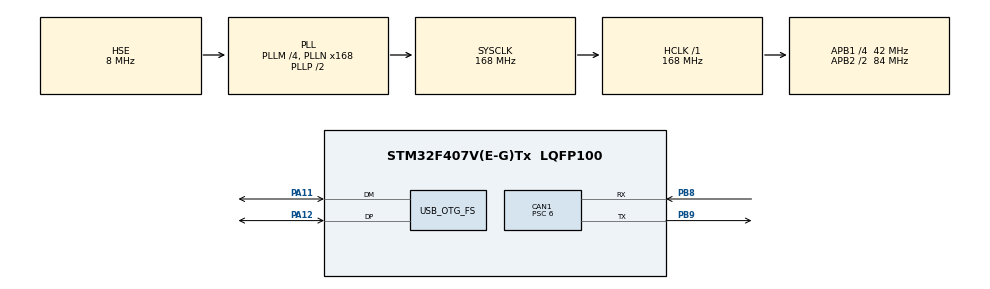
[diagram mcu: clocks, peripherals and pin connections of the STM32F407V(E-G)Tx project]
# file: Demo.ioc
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CAN1.ABOM=DISABLE
CAN1.AWUM=DISABLE
CAN1.BS1=CAN_BS1_3TQ
CAN1.BS2=CAN_BS2_3TQ
CAN1.CalculateBaudRate=1000000
CAN1.CalculateTimeBit=1000
CAN1.CalculateTimeQuantum=142.85714285714286
CAN1.NART=DISABLE
CAN1.Prescaler=6
Mcu.Family=STM32F4
Mcu.Name=STM32F407V(E-G)Tx
Mcu.Package=LQFP100
NVIC.CAN1_RX0_IRQn=true\:0\:0\:false\:false\:true\:true\:true\:true
NVIC.OTG_FS_IRQn=true\:0\:0\:false\:false\:true\:false\:true\:true
NVIC.PriorityGroup=NVIC_PRIORITYGROUP_4
PA11.GPIO_PuPd=GPIO_PULLDOWN
PA11.Mode=Device_Only
PA11.Signal=USB_OTG_FS_DM
PA12.GPIO_PuPd=GPIO_PULLDOWN
PA12.Mode=Device_Only
PA12.Signal=USB_OTG_FS_DP
PA13.GPIO_Label=swd
PA13.Mode=Serial_Wire
PA13.Signal=SYS_JTMS-SWDIO
PA14.GPIO_Label=swc
PA14.Mode=Serial_Wire
PA14.Signal=SYS_JTCK-SWCLK
PB8.GPIO_PuPd=GPIO_PULLDOWN
PB8.Mode=CAN_Activate
PB8.Signal=CAN1_RX
PB9.GPIO_PuPd=GPIO_PULLDOWN
PB9.Mode=CAN_Activate
PB9.Signal=CAN1_TX
PH0-OSC_IN.Mode=HSE-External-Oscillator
PH0-OSC_IN.Signal=RCC_OSC_IN
PH1-OSC_OUT.Mode=HSE-External-Oscillator
PH1-OSC_OUT.Signal=RCC_OSC_OUT
ProjectManager.HeapSize=0x200
ProjectManager.StackSize=0x400
ProjectManager.TargetToolchain=STM32CubeIDE
RCC.48MHZClocksFreq_Value=48000000
RCC.AHBFreq_Value=168000000
RCC.APB1CLKDivider=RCC_HCLK_DIV4
RCC.APB1Freq_Value=42000000
RCC.APB1TimFreq_Value=84000000
RCC.APB2CLKDivider=RCC_HCLK_DIV2
RCC.APB2Freq_Value=84000000
RCC.APB2TimFreq_Value=168000000
RCC.CortexFreq_Value=168000000
RCC.HCLKFreq_Value=168000000
RCC.HSE_VALUE=8000000
RCC.HSI_VALUE=16000000
RCC.LSE_VALUE=32768
RCC.PLLM=4
RCC.PLLN=168
RCC.PLLQ=7
RCC.SYSCLKFreq_VALUE=168000000
RCC.SYSCLKSource=RCC_SYSCLKSOURCE_PLLCLK
RCC.VCOOutputFreq_Value=336000000
USB_DEVICE.APP_RX_DATA_SIZE-CDC_FS=64
USB_DEVICE.APP_TX_DATA_SIZE-CDC_FS=64
USB_DEVICE.CLASS_NAME_FS=CDC
USB_DEVICE.VirtualMode-CDC_FS=Cdc
USB_DEVICE.VirtualModeFS=Cdc_FS
USB_OTG_FS.VirtualMode=Device_Only
VP_USB_DEVICE_VS_USB_DEVICE_CDC_FS.Mode=CDC_FS
board=custom

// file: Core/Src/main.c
/* USER CODE BEGIN Header */
/**
  ******************************************************************************
  * @file           : main.c
  * @brief          : Main program body
  ******************************************************************************
  * @attention
  *
  * Copyright (c) 2024 STMicroelectronics.
  * All rights reserved.
  *
  * This software is licensed under terms that can be found in the LICENSE file
  * in the root directory of this software component.
  * If no LICENSE file comes with this software, it is provided AS-IS.
  *
  ******************************************************************************
  */
/* USER CODE END Header */
#include "main.h"
#include "can.h"
#include "usb_device.h"
#include "gpio.h"

/* USER CODE BEGIN Includes */
#include "math.h"
#include "motor.h"
#include "usbd_cdc_if.h"

/* USER CODE END Includes */

/* USER CODE BEGIN PD */
#define VOFA_FLOAT_NUM (6)
#define VOFA_BYTES_NUM (4*(VOFA_FLOAT_NUM+1))
/* USER CODE END PD */

void SystemClock_Config(void);

/* USER CODE BEGIN 0 */
uint32_t cnt = 0;
float    vofa_f[6];
uint8_t  vofa_d[28];
int16_t  data[3] = {0,0,0};

/* USER CODE END 0 */

int main(void)
{

  /* USER CODE BEGIN 1 */
  __HAL_RCC_HSI_ENABLE();
  __HAL_RCC_SYSCLK_CONFIG(RCC_SYSCLKSOURCE_HSE);
  /* USER CODE END 1 */

  /* MCU Configuration--------------------------------------------------------*/

  /* Reset of all peripherals, Initializes the Flash interface and the Systick. */
  HAL_Init();

  /* Configure the system clock */
  SystemClock_Config();

  /* Initialize all configured peripherals */
  MX_GPIO_Init();
  MX_CAN1_Init();
  MX_USB_DEVICE_Init();
  /* USER CODE BEGIN 2 */

  float vel_ref = 0.0f;
  float pos_ref = 0.0f;
  float tor_ref = 0.0f;
  float sec     = 0.0f;
  uint32_t timestamp = 0;

  HAL_Delay(2999);

  for(int i=0;i<3000;i++) {
      MITSend(0X101,pos_ref,vel_ref,tor_ref,50.0f,1.0f);
      HAL_Delay(0);
  }

  HAL_Delay(2999);
  /* USER CODE END 2 */

  /* Infinite loop */
  /* USER CODE BEGIN WHILE */
  while (1)
  {
    timestamp = 0;
    do{
      sec = (float)timestamp/1000.f;
      if(sec<0.5f){
          pos_ref = sec*sec;
          vel_ref = 2.f*sec;
          tor_ref = 0.75f;
      }else if(sec>=0.5f&&sec<1.5f){
          pos_ref = -(sec-1.f)*(sec-1.f)+0.5f;
          vel_ref =  -2.f*(sec-1.0f);
          tor_ref = -0.75f;
      }else{
          pos_ref = (sec-2.0f)*(sec-2.0f);
          vel_ref = 2*(sec-2.0f);
          tor_ref = 0.75f;
      }

      vofa_f[0] = vel_ref;
      vofa_f[1] = pos_ref;
      vofa_f[2] = tor_ref;

      MITSend(0X101,pos_ref,vel_ref,tor_ref,15.f,1.0f);
      HAL_Delay(0);
      timestamp++;
    }while(timestamp<2000);

    for(int i=0;i<10000;i++) {
        MITSend(0X101,pos_ref,vel_ref,tor_ref,15.0f,1.0f);
        HAL_Delay(0);
    }
    /* USER CODE END WHILE */

  }
}

void SystemClock_Config(void)
{
  RCC_OscInitTypeDef RCC_OscInitStruct = {0};
  RCC_ClkInitTypeDef RCC_ClkInitStruct = {0};

  /** Configure the main internal regulator output voltage
  */
  __HAL_RCC_PWR_CLK_ENABLE();
  __HAL_PWR_VOLTAGESCALING_CONFIG(PWR_REGULATOR_VOLTAGE_SCALE1);

  /** Initializes the RCC Oscillators according to the specified parameters
  * in the RCC_OscInitTypeDef structure.
  */
  RCC_OscInitStruct.OscillatorType = RCC_OSCILLATORTYPE_HSE;
  RCC_OscInitStruct.HSEState = RCC_HSE_ON;
  RCC_OscInitStruct.PLL.PLLState = RCC_PLL_ON;
  RCC_OscInitStruct.PLL.PLLSource = RCC_PLLSOURCE_HSE;
  RCC_OscInitStruct.PLL.PLLM = 4;
  RCC_OscInitStruct.PLL.PLLN = 168;
  RCC_OscInitStruct.PLL.PLLP = RCC_PLLP_DIV2;
  RCC_OscInitStruct.PLL.PLLQ = 7;
  if (HAL_RCC_OscConfig(&RCC_OscInitStruct) != HAL_OK)
  {
    Error_Handler();
  }

  /** Initializes the CPU, AHB and APB buses clocks
  */
  RCC_ClkInitStruct.ClockType = RCC_CLOCKTYPE_HCLK|RCC_CLOCKTYPE_SYSCLK
                              |RCC_CLOCKTYPE_PCLK1|RCC_CLOCKTYPE_PCLK2;
  RCC_ClkInitStruct.SYSCLKSource = RCC_SYSCLKSOURCE_PLLCLK;
  RCC_ClkInitStruct.AHBCLKDivider = RCC_SYSCLK_DIV1;
  RCC_ClkInitStruct.APB1CLKDivider = RCC_HCLK_DIV4;
  RCC_ClkInitStruct.APB2CLKDivider = RCC_HCLK_DIV2;

  if (HAL_RCC_ClockConfig(&RCC_ClkInitStruct, FLASH_LATENCY_5) != HAL_OK)
  {
    Error_Handler();
  }
}

/* USER CODE BEGIN 4 */
void HAL_CAN_RxFifo0MsgPendingCallback(CAN_HandleTypeDef *hcan){
    if(hcan->Instance ==  CAN1) {
        uint8_t rxdata[8] = {0,0,0,0,0,0,0,0};

        CAN_RxHeaderTypeDef rxheader;
        HAL_CAN_GetRxMessage(&hcan1,CAN_RX_FIFO0,&rxheader,rxdata);

        if(rxheader.StdId == 0X51)
        {
            data[0] = (int16_t)(rxdata[0]<<8|rxdata[1]);
            data[1] = (int16_t)(rxdata[4]<<8|rxdata[5]);
            data[2] = (int16_t)(rxdata[2]<<8|rxdata[3]);

//          vofa_f[3] rad/s
            vofa_f[3] = ((float)(data[0]) / 600.f);
            vofa_f[4] = ((float)(data[1]) / 600.0f);
            vofa_f[5] = ((float)(data[2]) / 100.f);
            memcpy(vofa_d,(uint8_t*)vofa_f,sizeof(vofa_f));
            vofa_d[26] = 0X80;
            vofa_d[27] = 0X7F;
            CDC_Transmit_FS(vofa_d,VOFA_BYTES_NUM);
        }
    }
}
/* USER CODE END 4 */

void Error_Handler(void)
{
  __disable_irq();
  while (1)
  {
  }
}
